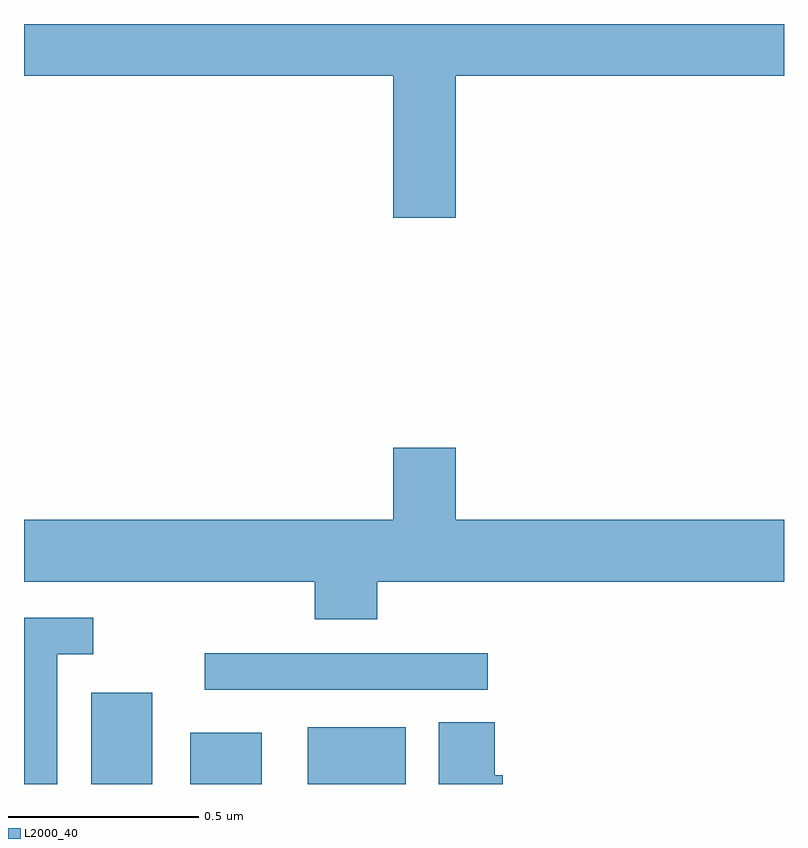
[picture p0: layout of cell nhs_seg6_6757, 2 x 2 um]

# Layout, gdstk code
import gdstk
lib = gdstk.Library(unit=1e-6, precision=1e-09)
def R(c, l, rs):  # rectangles x0, y0, x1, y1
    for r in rs: c.add(gdstk.rectangle(r[:2], r[2:], *l))
def P(c, l, *ps):  # polygons
    for p in ps: c.add(gdstk.Polygon(p, *l))
L2000_40 = (2000, 40)

nhs_seg6_6757 = lib.new_cell('nhs_seg6_6757')
R(nhs_seg6_6757, L2000_40, [(200.177,917.5,200.338,917.74), (200.438,917.5,200.626,917.635), (200.747,917.5,201.004,917.65), (200.475,917.748,201.22,917.844)])
P(nhs_seg6_6757, L2000_40, [(201.136,919.364),(202,919.364),(202,919.5),(200,919.5),(200,919.364),(200.972,919.364),(200.972,918.99),(201.136,918.99)],
  [(200.93,918.032),(202,918.032),(202,918.196),(201.136,918.196),(201.136,918.385),(200.972,918.385),(200.972,918.196),(200,918.196),(200,918.032),(200.765,918.032),(200.765,917.933),(200.93,917.933)],
  [(200.088,917.841),(200.182,917.841),(200.182,917.937),(200,917.937),(200,917.5),(200.088,917.5)],
  [(201.26,917.523),(201.239,917.523),(201.239,917.663),(201.092,917.663),(201.092,917.5),(201.26,917.5)])

lib.write_gds('nhs_seg6_6757.gds')
